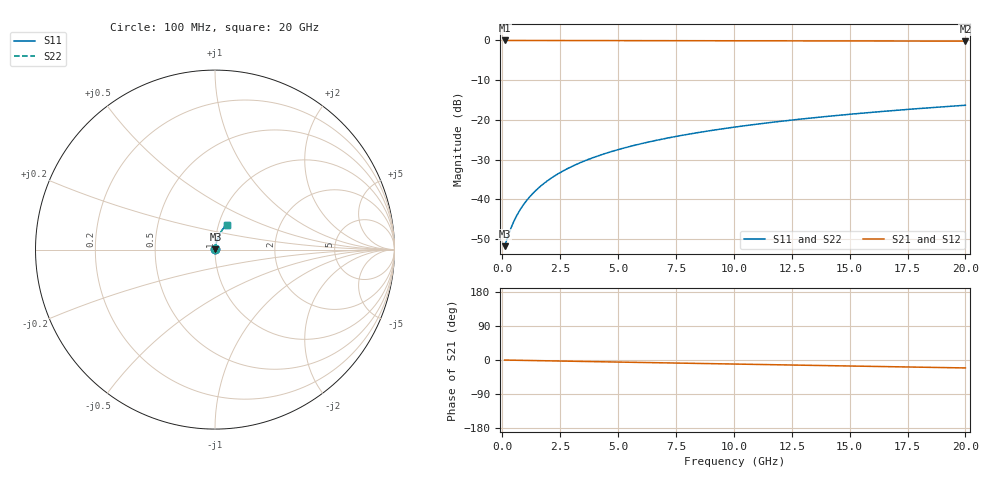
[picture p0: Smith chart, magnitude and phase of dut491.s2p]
! Touchstone file exported from HFSS 2026.1.0
!  File:  C:/ffzhzh/LocalFiles/Ansys_Project_Files/temp_train_BSMRDL_491_1783014019_4048.aedt
!  Generated:  01:41:35 AM Jul  3, 2026
!  Design:  BSMRDL
!  Project:  temp_train_BSMRDL_491_1783014019_4048
! Variables:
!  h_bsmrdl = 4.71um
!  h_ox = 20um
!  h_rdl = 5um
!  h_sub = 80um
!  h_tmrdl = 5um
!  h_tsv = 80um
!  h_via = 3um
!  l_bsmrdl = 337.76um
!  l_sub = 737.76um
!  l_tmrdl = 200um
!  m_sub = 200um
!  pitch = 21.69um
!  r_tsv = 6um
!  s_tmrdl = 10um
!  w_bsmrdl = 11.09um
!  w_sub = 500um
!  w_tmrdl = 12um
!  x_tsv_center1 = 206um
!  x_tsv_center2 = 554.85um
!  x_tsv_center3 = 766.85um
!  x_tsv_center4 = 1115.7um
!  x_tsv_center5 = 1327.7um
!  x_tsv_center6 = 1676.55um
# GHz S MA R 50.000000
! Terminal data exported
! Port[1] = BSM_RDL1_1_T1
! Port[2] = BSM_RDL1_1_T2
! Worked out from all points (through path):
!   200 points, 100 MHz to 20 GHz, reference 50 ohm
!   highest |S21| = -0.02 dB at 100 MHz (marker M1); lowest = -0.2 dB at 20 GHz (marker M2)
!   group delay of S21, straight-line fit = 2.9 ps
!   lowest |S11| = -51.8 dB at 100 MHz (marker M3), VSWR 1.01, Z = 50.2 + j0.0985 ohm
!   |S11| at or under -10 dB: start of sweep to end of sweep
!   |S22| runs from -51.8 to -16.3 dB; largest |S21 - S12| = 2e-15
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0.1  0.00258 22.3  0.9976 -0.1  0.9976 -0.1  0.00258 22.3
! Gamma 0 0 0 0
! Port Impedance 50 0 50 0
0.3  0.003811 47.7  0.9974 -0.3  0.9974 -0.3  0.003811 47.7
0.4  0.004543 54.2  0.9974 -0.5  0.9974 -0.5  0.004543 54.2
0.6  0.006067 62.5  0.9972 -0.7  0.9972 -0.7  0.006067 62.5
0.7  0.00685 65.2  0.9972 -0.8  0.9972 -0.8  0.00685 65.2
0.9  0.008447 69.2  0.9971 -1.0  0.9971 -1.0  0.008447 69.2
1.1  0.01008 71.9  0.997 -1.2  0.997 -1.2  0.01008 71.9
1.3  0.01172 73.8  0.9969 -1.4  0.9969 -1.4  0.01172 73.8
1.7  0.01505 76.2  0.9968 -1.9  0.9968 -1.9  0.01505 76.2
2.2  0.01924 77.7  0.9965 -2.4  0.9965 -2.4  0.01924 77.7
2.8  0.02425 78.5  0.9961 -3.1  0.9961 -3.1  0.02425 78.5
3.5  0.03005 78.7  0.9956 -3.8  0.9956 -3.8  0.03005 78.7
4.2  0.03578 78.5  0.9951 -4.6  0.9951 -4.6  0.03578 78.5
5  0.04224 78.1  0.9944 -5.4  0.9944 -5.4  0.04224 78.1
5.9  0.04941 77.5  0.9936 -6.4  0.9936 -6.4  0.04941 77.5
6.8  0.05647 76.8  0.9927 -7.3  0.9927 -7.3  0.05647 76.8
8.3  0.06805 75.6  0.9912 -8.9  0.9912 -8.9  0.06805 75.6
10.1  0.08167 74.1  0.9894 -10.8  0.9894 -10.8  0.08167 74.1
11.7  0.09358 72.7  0.9877 -12.5  0.9877 -12.5  0.09358 72.7
13.4  0.106 71.2  0.9858 -14.2  0.9858 -14.2  0.106 71.2
16.7  0.1297 68.2  0.982 -17.6  0.982 -17.6  0.1297 68.2
20  0.1527 65.2  0.9779 -21.0  0.9779 -21.0  0.1527 65.2
